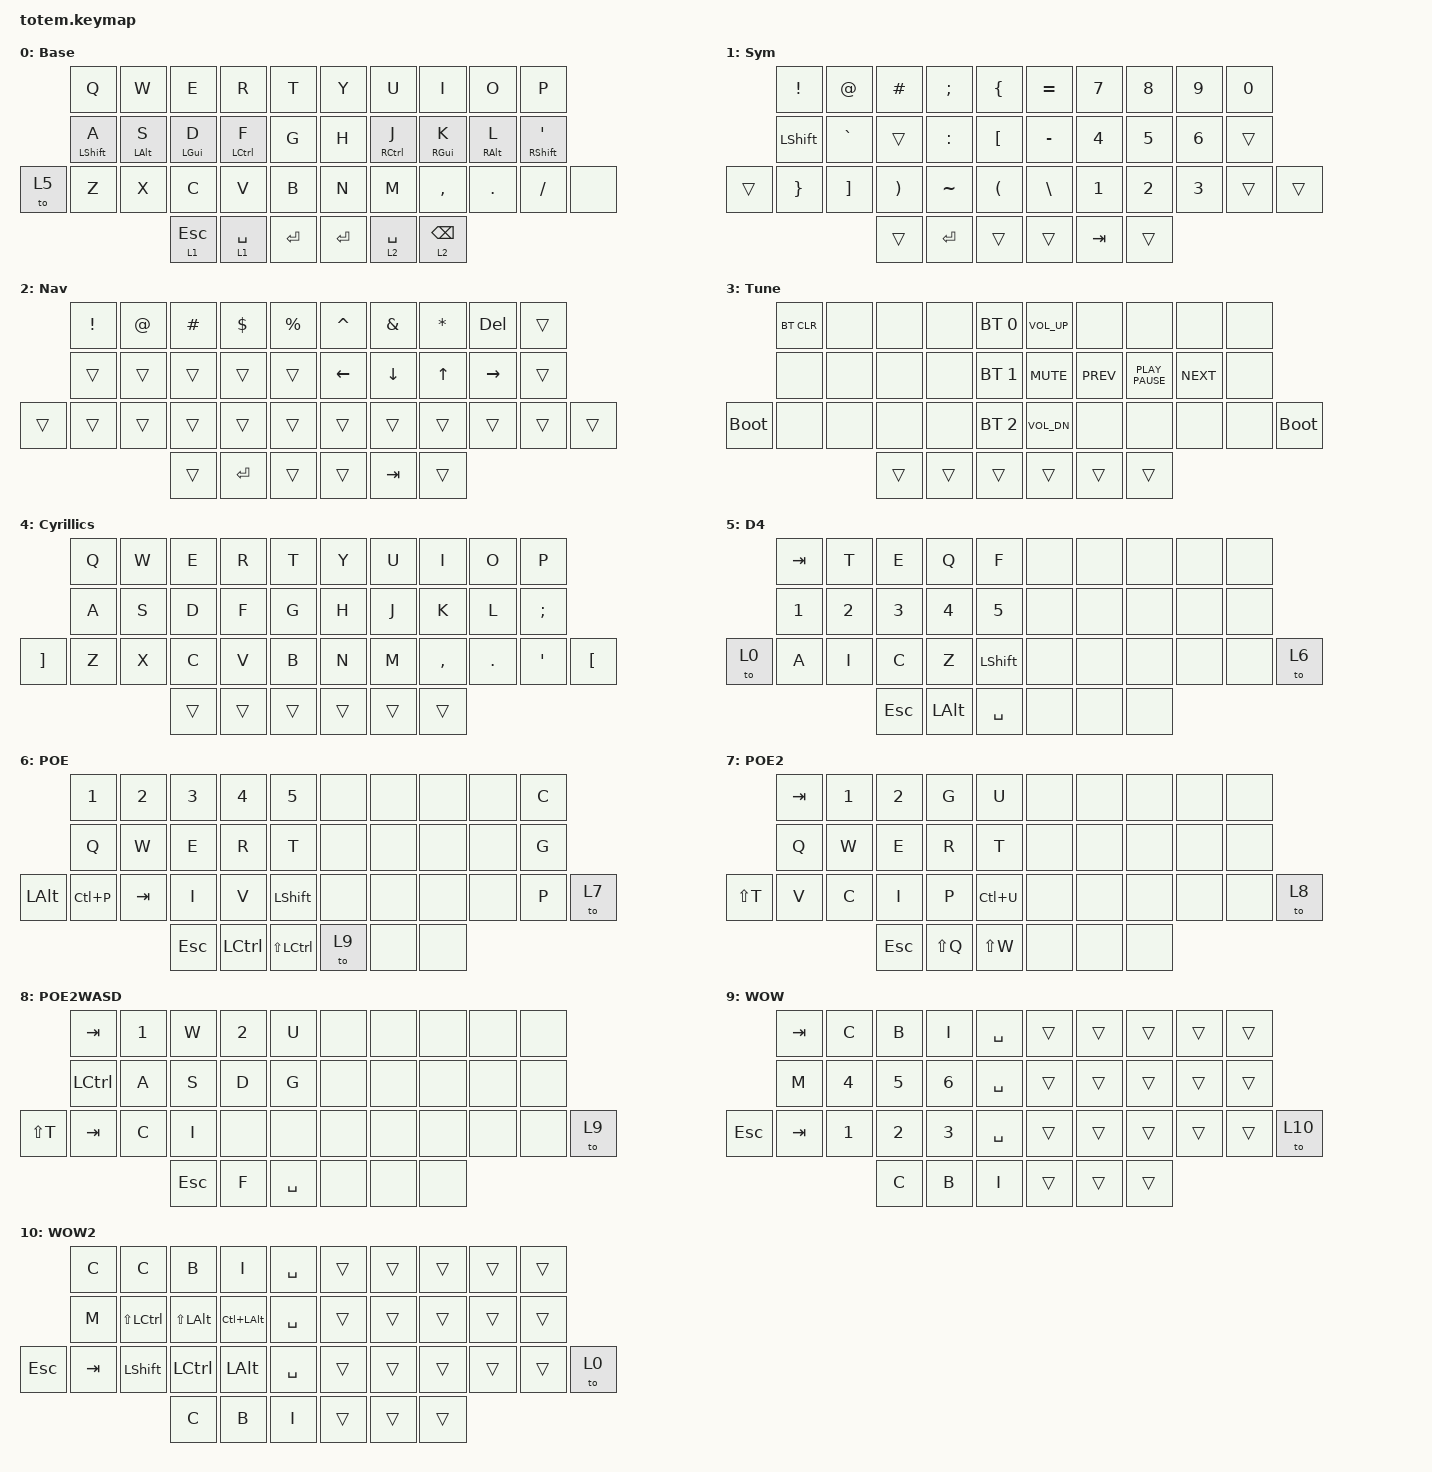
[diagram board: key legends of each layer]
//
//                                                        ▀▀▀▀▀     ▀▀▀▀▀          ▀▀█▀▀
//                                                        ▄▀▀▀▄  ▄  ▄▀▀▀▄  ▄  ▄▀▀▀▄  █  ▄▀▀▀▄
//                                                        █   █  █  █   █  █  █   █  █  █   █
//                                                         ▀▀▀   █   ▀▀▀   █   ▀▀▀   ▀   ▀▀▀
//                                                               █      ▄▄▄█▄▄▄    █   █  
//                                                               ▀      █  █  █     █▄█
//                                                             ▀▀▀▀▀    █  █  █      ▀
//                                                                      ▀  ▀  ▀
//
// ▄▄▄▄▄▄▄▄▄▄▄▄▄▄▄▄▄▄▄▄▄▄▄▄▄▄▄▄▄▄▄▄▄▄▄▄▄▄▄▄▄▄▄▄▄▄▄▄▄▄▄▄▄▄▄▄▄▄▄▄▄▄▄▄▄▄▄▄▄▄▄▄▄▄▄▄▄▄▄▄▄▄▄▄▄▄▄▄▄▄▄▄▄▄▄▄▄▄▄▄▄▄▄▄▄▄▄▄▄▄▄▄▄▄▄▄▄▄▄▄▄▄▄▄▄▄▄▄▄▄▄▄▄▄▄▄▄▄▄▄▄▄▄▄▄▄▄▄▄

#include <behaviors.dtsi>
#include <dt-bindings/zmk/bt.h>
#include <dt-bindings/zmk/keys.h>

&mt {
    quick-tap-ms = <100>;
    global-quick-tap;
    flavor = "tap-preferred";
    tapping-term-ms = <170>;
};

&lt {
    tapping-term-ms = <240>;
    flavor = "balanced";
    quick-tap-ms = <150>;
};

/ {
    behaviors {
        hm: homerow_mods {
            compatible = "zmk,behavior-hold-tap";
            label = "HOMEROW_MODS";
            #binding-cells = <2>;
            flavor = "tap-preferred";
            tapping-term-ms = <200>;
            quick-tap-ms = <125>;
            global-quick-tap;
            bindings = <&kp>, <&kp>;
        };

        hml: hml {
            compatible = "zmk,behavior-hold-tap";
            label = "HML";
            bindings = <&kp>, <&kp>;

            #binding-cells = <2>;
            tapping-term-ms = <280>;
            quick-tap-ms = <175>;
            require-prior-idle-ms = <150>;
            flavor = "balanced";
            hold-trigger-on-release;
            hold-trigger-key-positions = <20 0 1 2 3 4 10 11 12 13 14 25 24 23 22 21 32 33 34 35 36 37>;
        };

        hmr: hmr {
            compatible = "zmk,behavior-hold-tap";
            label = "HMR";
            bindings = <&kp>, <&kp>;

            #binding-cells = <2>;
            tapping-term-ms = <280>;
            quick-tap-ms = <175>;
            require-prior-idle-ms = <150>;
            flavor = "balanced";
            hold-trigger-on-release;
            hold-trigger-key-positions = <32 33 34 35 36 37 15 5 26 27 16 7 6 17 28 8 18 29 9 19 30 31>;
        };
    };

    combos {
        compatible = "zmk,combos";

        to_base {
            bindings = <&to 0>;
            key-positions = <13 16>;
        };

        to_cyr {
            bindings = <&to 4>;
            key-positions = <15 14>;
        };
    };

    keymap {
        compatible = "zmk,keymap";

        Base {
            label = "Base";
            bindings = <
       &kp Q         &kp W        &kp E        &kp R         &kp T        &kp Y      &kp U         &kp I            &kp O        &kp P
       &hml LSHFT A  &hml LALT S  &hml LGUI D  &hml LCTRL F  &kp G        &kp H      &hmr RCTRL J  &hmr RGUI K      &hmr RALT L  &hmr RSHFT SQT
&to 5  &kp Z         &kp X        &kp C        &kp V         &kp B        &kp N      &kp M         &kp COMMA        &kp DOT      &kp SLASH       &none
                                  &lt 1 ESC    &lt 1 SPACE   &kp ENTER    &kp ENTER  &lt 2 SPACE   &lt 2 BACKSPACE
            >;
        };

        Sym {
            label = "Sym";
            bindings = <
        &kp EXCLAMATION  &kp AT             &kp POUND              &kp SEMICOLON  &kp LBRC    &kp EQUAL      &kp NUMBER_7  &kp NUMBER_8  &kp NUMBER_9  &kp N0
        &kp LEFT_SHIFT   &kp GRAVE          &trans                 &kp COLON      &kp LBKT    &kp MINUS      &kp NUMBER_4  &kp NUMBER_5  &kp NUMBER_6  &trans
&trans  &kp RIGHT_BRACE  &kp RIGHT_BRACKET  &kp RIGHT_PARENTHESIS  &kp TILDE      &kp LPAR    &kp BACKSLASH  &kp NUMBER_1  &kp NUMBER_2  &kp NUMBER_3  &trans  &trans
                                            &trans                 &kp ENTER      &trans      &trans         &kp TAB       &trans
            >;
        };

        Nav {
            label = "Nav";
            bindings = <
        &kp EXCL  &kp AT  &kp HASH  &kp DOLLAR  &kp PERCENT    &kp CARET  &kp AMPS  &kp STAR  &kp DEL    &trans
        &trans    &trans  &trans    &trans      &trans         &kp LEFT   &kp DOWN  &kp UP    &kp RIGHT  &trans
&trans  &trans    &trans  &trans    &trans      &trans         &trans     &trans    &trans    &trans     &trans  &trans
                          &trans    &kp ENTER   &trans         &trans     &kp TAB   &trans
            >;
        };

        Tune {
            bindings = <
             &bt BT_CLR  &none  &none   &none   &bt BT_SEL 0    &kp C_VOL_UP  &none       &none             &none       &none
             &none       &none  &none   &none   &bt BT_SEL 1    &kp K_MUTE    &kp K_PREV  &kp K_PLAY_PAUSE  &kp K_NEXT  &none
&bootloader  &none       &none  &none   &none   &bt BT_SEL 2    &kp C_VOL_DN  &none       &none             &none       &none  &bootloader
                                &trans  &trans  &trans          &trans        &trans      &trans
            >;

            label = "Tune";
        };

        Cyr {
            bindings = <
          &kp Q  &kp W  &kp E   &kp R   &kp T     &kp Y   &kp U   &kp I      &kp O    &kp P
          &kp A  &kp S  &kp D   &kp F   &kp G     &kp H   &kp J   &kp K      &kp L    &kp SEMI
&kp RBKT  &kp Z  &kp X  &kp C   &kp V   &kp B     &kp N   &kp M   &kp COMMA  &kp DOT  &kp APOS  &kp LBKT
                        &trans  &trans  &trans    &trans  &trans  &trans
            >;

            label = "Cyrillics";
        };

        D4 {
            bindings = <
       &kp TAB       &kp T         &kp E         &kp Q         &kp F             &none  &none  &none  &none  &none
       &kp NUMBER_1  &kp NUMBER_2  &kp NUMBER_3  &kp NUMBER_4  &kp N5            &none  &none  &none  &none  &none
&to 0  &kp A         &kp I         &kp C         &kp Z         &kp LEFT_SHIFT    &none  &none  &none  &none  &none  &to 6
                                   &kp ESCAPE    &kp LEFT_ALT  &kp SPACE         &none  &none  &none
            >;
        };

        POE {
            bindings = <
              &kp NUMBER_1  &kp NUMBER_2  &kp NUMBER_3  &kp NUMBER_4      &kp N5                  &none  &none  &none  &none  &kp C
              &kp Q         &kp W         &kp E         &kp R             &kp T                   &none  &none  &none  &none  &kp G
&kp LEFT_ALT  &kp LC(P)     &kp TAB       &kp I         &kp V             &kp LEFT_SHIFT          &none  &none  &none  &none  &kp P  &to 7
                                          &kp ESC       &kp LEFT_CONTROL  &kp LS(LEFT_CONTROL)    &to 9  &none  &none
            >;
        };

        POE2 {
            bindings = <
           &kp TAB  &kp NUMBER_1  &kp NUMBER_2  &kp G      &kp U        &none  &none  &none  &none  &none
           &kp Q    &kp W         &kp E         &kp R      &kp T        &none  &none  &none  &none  &none
&kp LS(T)  &kp V    &kp C         &kp I         &kp P      &kp LC(U)    &none  &none  &none  &none  &none  &to 8
                                  &kp ESCAPE    &kp LS(Q)  &kp LS(W)    &none  &none  &none
            >;
        };

        POE2WASD {
            bindings = <
           &kp TAB    &kp N1  &kp W    &kp N2  &kp U        &none  &none  &none  &none  &none
           &kp LCTRL  &kp A   &kp S    &kp D   &kp G        &none  &none  &none  &none  &none
&kp LS(T)  &kp TAB    &kp C   &kp I    &none   &none        &none  &none  &none  &none  &none  &to 9
                              &kp ESC  &kp F   &kp SPACE    &none  &none  &none
            >;
        };

        WOW {
            bindings = <
            &kp TAB  &kp C         &kp B         &kp I         &kp SPACE    &trans  &trans  &trans  &trans  &trans
            &kp M    &kp NUMBER_4  &kp N5        &kp NUMBER_6  &kp SPACE    &trans  &trans  &trans  &trans  &trans
&kp ESCAPE  &kp TAB  &kp NUMBER_1  &kp NUMBER_2  &kp NUMBER_3  &kp SPACE    &trans  &trans  &trans  &trans  &trans  &to 10
                                   &kp C         &kp B         &kp I        &trans  &trans  &trans
            >;
        };

        WOW2 {
            bindings = <
         &kp C    &kp C                 &kp B             &kp I             &kp SPACE    &trans  &trans  &trans  &trans  &trans
         &kp M    &kp LS(LEFT_CONTROL)  &kp LS(LEFT_ALT)  &kp LC(LEFT_ALT)  &kp SPACE    &trans  &trans  &trans  &trans  &trans
&kp ESC  &kp TAB  &kp LEFT_SHIFT        &kp LCTRL         &kp LEFT_ALT      &kp SPACE    &trans  &trans  &trans  &trans  &trans  &to 0
                                        &kp C             &kp B             &kp I        &trans  &trans  &trans
            >;
        };
    };

    conditional_layers {
        compatible = "zmk,conditional-layers";

        raise_lower {
            if-layers = <2 1>;
            then-layer = <3>;
        };
    };
};
